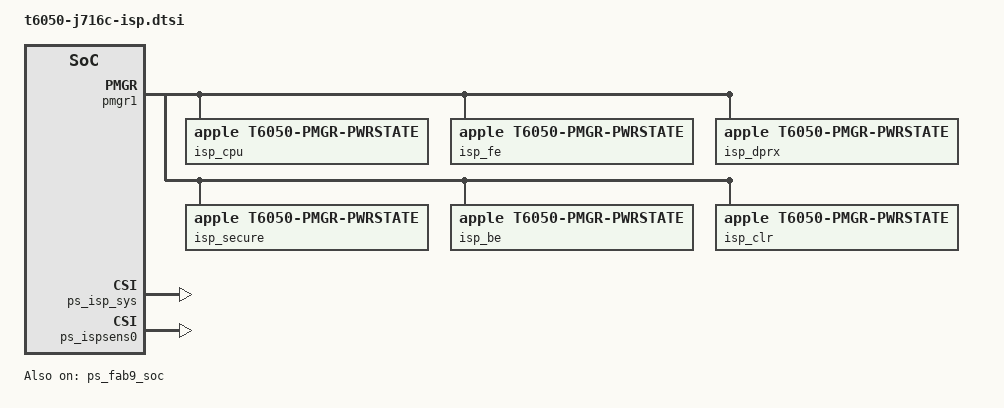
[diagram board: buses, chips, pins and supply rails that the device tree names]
// SPDX-License-Identifier: GPL-2.0+ OR MIT
/* J716c camera: enabled only after the loader reserves the current firmware. */
/ {
	aliases {
		isp = &isp0;
		isp-dart0 = &isp0_dart;
		isp-dart1 = &isp0_dart1;
		isp-dart2 = &isp0_dart2;
	};
};

&isp0 {
	/delete-property/ clocks;
	compatible = "apple,t6050-isp", "apple,isp";
	reg = <0x5 0x80000000 0 0x1604000>,
	      <0x5 0x82924000 0 0x40>,
	      <0x5 0x829241d0 0 0x20>,
	      <0x5 0x82924464 0 0x10>,
	      <0x5 0xc3b50000 0 0x8000>;
	reg-names = "coproc", "mbox", "gpio", "mbox2", "wdt";
	interrupts = <AIC_IRQ 0 513 IRQ_TYPE_LEVEL_HIGH>;
	iommus = <&isp0_dart 0>, <&isp0_dart 12>,
		 <&isp0_dart1 0>, <&isp0_dart1 12>,
		 <&isp0_dart2 0>, <&isp0_dart2 12>;
	power-domains = <&ps_isp_sys>, <&ps_isp_cpu>, <&ps_isp_fe>,
			<&ps_ispsens0>, <&ps_isp_dprx>, <&ps_isp_secure>,
			<&ps_isp_be>, <&ps_isp_clr>;
	apple,dart-vm-size = /bits/ 64 <0xde000000>;
	status = "disabled";
	sensor-presets {
		preset0 {
			apple,config-index = <5>;
			apple,input-size = <1920 2160>;
			apple,output-size = <1920 1080>;
			apple,crop = <0 0 1920 1080>;
		};
	};
};

&isp0_dart {
	compatible = "apple,t6050-isp-dart", "apple,t8110-dart";
	reg = <0x5 0x828c0000 0 0xc000>, <0x5 0x828d0000 0 0x4000>;
	reg-names = "dart", "dapf";
	#iommu-cells = <1>;
	interrupts = <AIC_IRQ 0 531 IRQ_TYPE_LEVEL_HIGH>;
	power-domains = <&ps_isp_sys>;
	apple,remap-streams = <1 0>, <6 0>, <7 0>, <10 0>, <11 0>;
	status = "disabled";
};

&isp0_dart1 {
	compatible = "apple,t6050-isp-dart", "apple,t8110-dart";
	reg = <0x5 0x828e0000 0 0xc000>;
	reg-names = "dart";
	#iommu-cells = <1>;
	interrupts = <AIC_IRQ 0 531 IRQ_TYPE_LEVEL_HIGH>;
	power-domains = <&ps_isp_sys>;
	apple,remap-streams = <1 0>, <6 0>, <7 0>, <10 0>, <11 0>;
	status = "disabled";
};

&isp0_dart2 {
	compatible = "apple,t6050-isp-dart", "apple,t8110-dart";
	reg = <0x5 0x82900000 0 0xc000>;
	reg-names = "dart";
	#iommu-cells = <1>;
	interrupts = <AIC_IRQ 0 531 IRQ_TYPE_LEVEL_HIGH>;
	power-domains = <&ps_isp_sys>;
	apple,remap-streams = <1 0>, <6 0>, <7 0>, <10 0>, <11 0>;
	status = "disabled";
};

&pmgr1 {
	ps_isp_cpu: power-controller@3b0 {
		compatible = "apple,t6050-pmgr-pwrstate", "apple,t8103-pmgr-pwrstate";
		reg = <0x3b0 4>;
		#power-domain-cells = <0>;
		#reset-cells = <0>;
		label = "isp_cpu";
		apple,no-auto-pm;
		power-domains = <&ps_isp_sys>;
	};
	ps_isp_fe: power-controller@3b8 {
		compatible = "apple,t6050-pmgr-pwrstate", "apple,t8103-pmgr-pwrstate";
		reg = <0x3b8 4>;
		#power-domain-cells = <0>;
		#reset-cells = <0>;
		label = "isp_fe";
		apple,no-auto-pm;
		power-domains = <&ps_isp_sys>;
	};
	ps_isp_dprx: power-controller@3d8 {
		compatible = "apple,t6050-pmgr-pwrstate", "apple,t8103-pmgr-pwrstate";
		reg = <0x3d8 4>;
		#power-domain-cells = <0>;
		#reset-cells = <0>;
		label = "isp_dprx";
		apple,no-auto-pm;
		power-domains = <&ps_isp_sys>;
	};
	ps_isp_secure: power-controller@3e0 {
		compatible = "apple,t6050-pmgr-pwrstate", "apple,t8103-pmgr-pwrstate";
		reg = <0x3e0 4>;
		#power-domain-cells = <0>;
		#reset-cells = <0>;
		label = "isp_secure";
		apple,no-auto-pm;
		power-domains = <&ps_isp_sys>;
	};
	ps_isp_be: power-controller@3e8 {
		compatible = "apple,t6050-pmgr-pwrstate", "apple,t8103-pmgr-pwrstate";
		reg = <0x3e8 4>;
		#power-domain-cells = <0>;
		#reset-cells = <0>;
		label = "isp_be";
		apple,no-auto-pm;
		power-domains = <&ps_isp_sys>;
	};
	ps_isp_clr: power-controller@3f0 {
		compatible = "apple,t6050-pmgr-pwrstate", "apple,t8103-pmgr-pwrstate";
		reg = <0x3f0 4>;
		#power-domain-cells = <0>;
		#reset-cells = <0>;
		label = "isp_clr";
		apple,no-auto-pm;
		power-domains = <&ps_isp_sys>;
	};
};

&ps_fab9_soc {
	/delete-property/ power-domains;
	apple,no-auto-pm;
	apple,firmware-owned;
	status = "okay";
};

&ps_isp_sys {
	apple,no-auto-pm;
	apple,always-on;
	status = "okay";
};

&ps_ispsens0 {
	apple,no-auto-pm;
	status = "okay";
};
